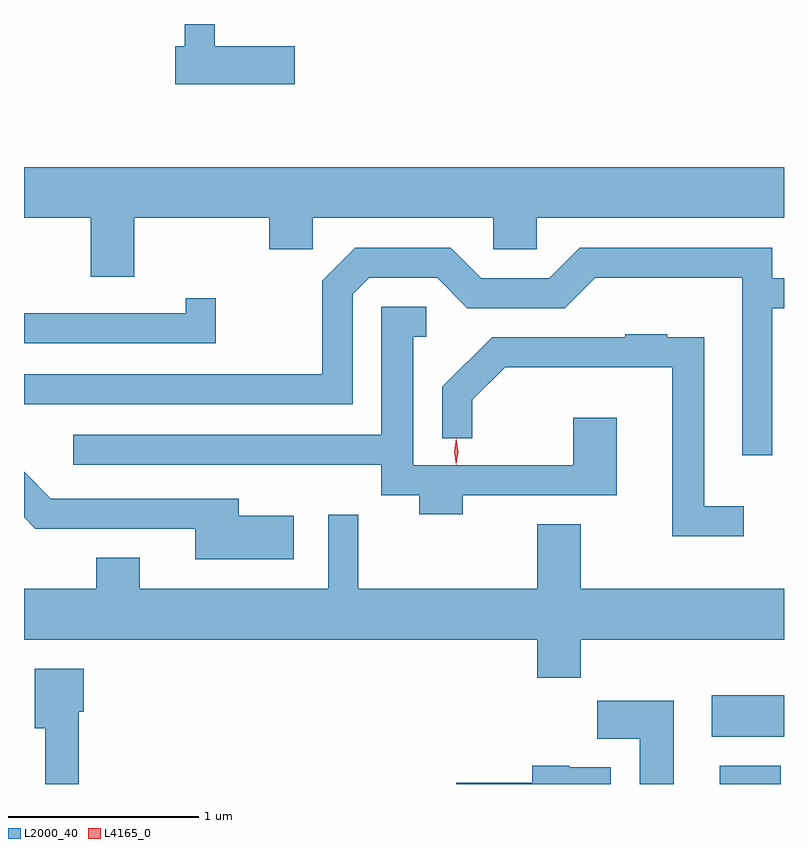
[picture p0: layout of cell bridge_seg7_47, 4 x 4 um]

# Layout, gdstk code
import gdstk
lib = gdstk.Library(unit=1e-6, precision=1e-09)
def R(c, l, rs):  # rectangles x0, y0, x1, y1
    for r in rs: c.add(gdstk.rectangle(r[:2], r[2:], *l))
def P(c, l, *ps):  # polygons
    for p in ps: c.add(gdstk.Polygon(p, *l))
L2000_40 = (2000, 40)
L4165_0 = (4165, 0)

bridge_seg7_47 = lib.new_cell('bridge_seg7_47')
R(bridge_seg7_47, L2000_40, [(1571.591,1773.497,1571.914,1773.594), (1571.551,1773.746,1571.93,1773.964)])
P(bridge_seg7_47, L2000_40, [(1569.354,1777.379),(1568.934,1777.379),(1568.934,1777.497),(1568.776,1777.497),(1568.776,1777.379),(1568.726,1777.379),(1568.726,1777.181),(1569.354,1777.181)],
  [(1568.509,1776.476),(1569.221,1776.476),(1569.221,1776.311),(1569.449,1776.311),(1569.449,1776.476),(1570.401,1776.476),(1570.401,1776.311),(1570.629,1776.311),(1570.629,1776.476),(1571.93,1776.476),(1571.93,1776.744),(1567.93,1776.744),(1567.93,1776.476),(1568.281,1776.476),(1568.281,1776.166),(1568.509,1776.166)],
  [(1571.869,1776.001),(1571.93,1776.001),(1571.93,1776.159),(1571.869,1776.159),(1571.869,1776.319),(1570.854,1776.319),(1570.694,1776.159),(1570.337,1776.159),(1570.177,1776.319),(1569.674,1776.319),(1569.501,1776.147),(1569.501,1775.654),(1567.93,1775.654),(1567.93,1775.496),(1569.659,1775.496),(1569.659,1776.074),(1569.747,1776.161),(1570.104,1776.161),(1570.264,1776.001),(1570.777,1776.001),(1570.937,1776.161),(1571.711,1776.161),(1571.711,1775.228),(1571.869,1775.228)],
  [(1568.939,1776.053),(1568.781,1776.053),(1568.781,1775.974),(1567.93,1775.974),(1567.93,1775.816),(1568.939,1775.816)],
  [(1570.239,1775.016),(1571.049,1775.016),(1571.049,1775.424),(1570.821,1775.424),(1570.821,1775.174),(1569.979,1775.174),(1569.979,1775.851),(1570.048,1775.851),(1570.048,1776.009),(1569.811,1776.009),(1569.811,1775.334),(1568.188,1775.334),(1568.188,1775.176),(1569.811,1775.176),(1569.811,1775.016),(1570.011,1775.016),(1570.011,1774.916),(1570.239,1774.916)],
  [(1571.718,1774.959),(1571.509,1774.959),(1571.509,1775.849),(1571.315,1775.849),(1571.315,1775.864),(1571.095,1775.864),(1571.095,1775.849),(1570.394,1775.849),(1570.131,1775.587),(1570.131,1775.318),(1570.289,1775.318),(1570.289,1775.519),(1570.462,1775.691),(1571.341,1775.691),(1571.341,1774.801),(1571.718,1774.801)],
  [(1569.349,1774.909),(1569.059,1774.909),(1569.059,1774.999),(1568.072,1774.999),(1567.93,1775.141),(1567.93,1774.9),(1567.989,1774.841),(1568.831,1774.841),(1568.831,1774.681),(1569.349,1774.681)],
  [(1570.859,1774.256),(1571.93,1774.256),(1571.93,1774.524),(1570.859,1774.524),(1570.859,1774.864),(1570.631,1774.864),(1570.631,1774.524),(1569.689,1774.524),(1569.689,1774.913),(1569.531,1774.913),(1569.531,1774.524),(1568.539,1774.524),(1568.539,1774.689),(1568.311,1774.689),(1568.311,1774.524),(1567.93,1774.524),(1567.93,1774.256),(1570.631,1774.256),(1570.631,1774.056),(1570.859,1774.056)],
  [(1568.219,1773.876),(1568.244,1773.876),(1568.244,1774.104),(1567.986,1774.104),(1567.986,1773.791),(1568.041,1773.791),(1568.041,1773.497),(1568.219,1773.497)],
  [(1571.349,1773.934),(1570.946,1773.934),(1570.946,1773.736),(1571.171,1773.736),(1571.171,1773.497),(1571.349,1773.497)],
  [(1571.019,1773.584),(1570.8,1773.584),(1570.8,1773.594),(1570.606,1773.594),(1570.606,1773.504),(1570.206,1773.504),(1570.206,1773.497),(1571.019,1773.497)])
P(bridge_seg7_47, L4165_0, [(1570.204,1775.178),(1570.204,1775.178),(1570.194,1775.247),(1570.204,1775.316),(1570.204,1775.317),(1570.205,1775.316),(1570.214,1775.247),(1570.204,1775.178)],
  [(1570.204,1775.18),(1570.204,1775.18),(1570.195,1775.247),(1570.204,1775.313),(1570.205,1775.313),(1570.205,1775.313),(1570.215,1775.247),(1570.205,1775.18)])

lib.write_gds('bridge_seg7_47.gds')
